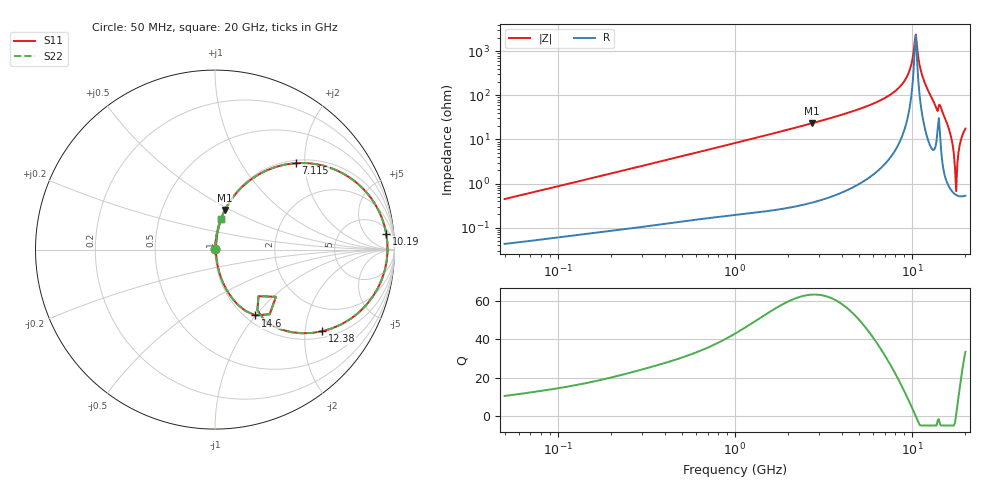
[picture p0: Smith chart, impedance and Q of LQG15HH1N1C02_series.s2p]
!Murata Part Number: LQG15HH1N1C02
!These Parameters are Measured in Series Mode Connection
!  o--[Z]--o
!Port1  Port2
!  o-------o
!Freq. Start=50[MHz] Stop=20[GHz], 401[Steps]
# Hz S RI R 50
!Freq.(Hz) S11(Real) S11(Imag) S21(Real) S21(Imag) S12(Real) S12(Imag) S22(Real) S22(Imag)
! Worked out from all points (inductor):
!   401 points, 50 MHz to 20 GHz, reference 50 ohm
!   read as one part in series: L = 1.4 nH near 51.52 MHz
!   highest Q = 63.3 at 2.728 GHz (marker M1), where L = 1.37 nH
!   self-resonance near 10.35 GHz
!   S11 on the Smith chart (normalised r, x): 50 MHz: 1.00, +0.01; 7.115 GHz: 1.06, +1.80; 10.19 GHz: 8, +18; 12.38 GHz: 1.18, -2.46; 14.6 GHz: 1.11, -1.00; 20 GHz: 1.01, +0.35
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5e7  0.000446 0.00443  0.9996 -0.00443  0.9996 -0.00443  0.000446 0.00443
1.364002e8  0.000838 0.0117  0.9992 -0.0117  0.9992 -0.0117  0.000838 0.0117
3.721004e8  0.00214 0.0311  0.9979 -0.0311  0.9979 -0.0311  0.00214 0.0311
1e9  0.00873 0.0821  0.9913 -0.0821  0.9913 -0.0821  0.00873 0.0821
2.728004e9  0.0551 0.2204  0.9449 -0.2204  0.9449 -0.2204  0.0551 0.2204
4.89267e9  0.1873 0.3805  0.8127 -0.3805  0.8127 -0.3805  0.1873 0.3805
7.114996e9  0.4503 0.4815  0.5497 -0.4815  0.5497 -0.4815  0.4503 0.4815
7.442007e9  0.5033 0.4822  0.4967 -0.4822  0.4967 -0.4822  0.5033 0.4822
9.178299e9  0.8245 0.3398  0.1755 -0.3398  0.1755 -0.3398  0.8245 0.3398
9.745021e9  0.9126 0.2156  0.0874 -0.2156  0.0874 -0.2156  0.9126 0.2156
1.019291e10  0.9541 0.0888  0.0459 -0.0888  0.0459 -0.0888  0.9541 0.0888
1.066139e10  0.9569 -0.0607  0.0431 0.0607  0.0431 0.0607  0.9569 -0.0607
1.131968e10  0.8774 -0.2646  0.1226 0.2646  0.1226 0.2646  0.8774 -0.2646
1.238412e10  0.596 -0.4555  0.404 0.4555  0.404 0.4555  0.596 -0.4555
1.354865e10  0.2737 -0.3907  0.7263 0.3907  0.7263 0.3907  0.2737 -0.3907
1.460232e10  0.2252 -0.3666  0.7748 0.3666  0.7748 0.3666  0.2252 -0.3666
1.621653e10  0.0335 -0.1565  0.9665 0.1565  0.9665 0.1565  0.0335 -0.1565
1.721783e10  0.00814 -0.0461  0.9919 0.0461  0.9919 0.0461  0.00814 -0.0461
1.774144e10  0.00549 0.00377  0.9945 -0.00377  0.9945 -0.00377  0.00549 0.00377
1.828096e10  0.00773 0.0502  0.9923 -0.0502  0.9923 -0.0502  0.00773 0.0502
1.88369e10  0.0139 0.0932  0.9861 -0.0932  0.9861 -0.0932  0.0139 0.0932
2e10  0.0352 0.1699  0.9648 -0.1699  0.9648 -0.1699  0.0352 0.1699
